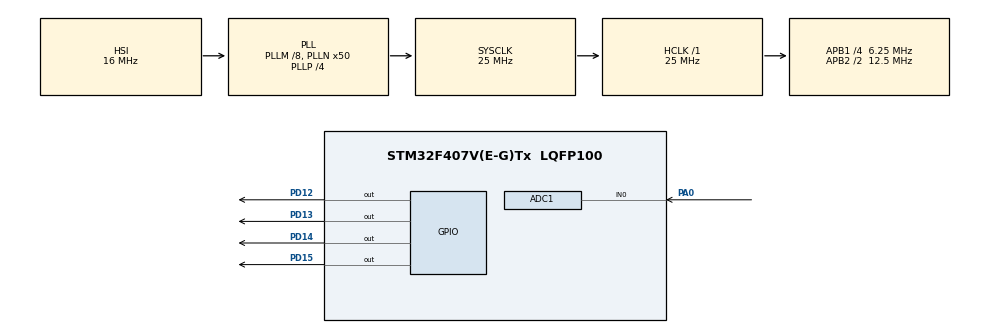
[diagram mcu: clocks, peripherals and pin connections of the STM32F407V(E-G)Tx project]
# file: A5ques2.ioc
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ADC1.Channel-0\#ChannelRegularConversion=ADC_CHANNEL_0
ADC1.ClockPrescaler=ADC_CLOCK_SYNC_PCLK_DIV6
ADC1.NbrOfConversionFlag=1
ADC1.Rank-0\#ChannelRegularConversion=1
ADC1.SamplingTime-0\#ChannelRegularConversion=ADC_SAMPLETIME_3CYCLES
ADC1.master=1
Mcu.Family=STM32F4
Mcu.Name=STM32F407V(E-G)Tx
Mcu.Package=LQFP100
NVIC.PriorityGroup=NVIC_PRIORITYGROUP_0
PA0-WKUP.Signal=ADCx_IN0
PD12.Signal=GPIO_Output
PD13.Signal=GPIO_Output
PD14.Signal=GPIO_Output
PD15.Signal=GPIO_Output
ProjectManager.HeapSize=0x200
ProjectManager.StackSize=0x400
ProjectManager.TargetToolchain=STM32CubeIDE
RCC.48MHZClocksFreq_Value=14285714.285714285
RCC.AHBFreq_Value=25000000
RCC.APB1CLKDivider=RCC_HCLK_DIV4
RCC.APB1Freq_Value=6250000
RCC.APB1TimFreq_Value=12500000
RCC.APB2CLKDivider=RCC_HCLK_DIV2
RCC.APB2Freq_Value=12500000
RCC.APB2TimFreq_Value=25000000
RCC.CortexFreq_Value=25000000
RCC.HCLKFreq_Value=25000000
RCC.HSE_VALUE=8000000
RCC.HSI_VALUE=16000000
RCC.LSE_VALUE=32768
RCC.PLLM=8
RCC.PLLN=50
RCC.PLLP=RCC_PLLP_DIV4
RCC.PLLQ=7
RCC.SYSCLKFreq_VALUE=25000000
RCC.SYSCLKSource=RCC_SYSCLKSOURCE_PLLCLK
RCC.VCOOutputFreq_Value=100000000
SH.ADCx_IN0.0=ADC1_IN0,IN0
board=STM32F407G-DISC1

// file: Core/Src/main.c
/* USER CODE BEGIN Header */
/**
  ******************************************************************************
  * @file           : main.c
  * @brief          : Main program body
  ******************************************************************************
  * @attention
  *
  * Copyright (c) 2026 STMicroelectronics.
  * All rights reserved.
  *
  * This software is licensed under terms that can be found in the LICENSE file
  * in the root directory of this software component.
  * If no LICENSE file comes with this software, it is provided AS-IS.
  *
  ******************************************************************************
  */
/* USER CODE END Header */
#include "main.h"

/* USER CODE BEGIN Includes */
#include<stdio.h>
#include<string.h>
/* USER CODE END Includes */

ADC_HandleTypeDef hadc1;

void SystemClock_Config(void);
static void MX_GPIO_Init(void);
static void MX_ADC1_Init(void);

int main(void)
{

  /* MCU Configuration--------------------------------------------------------*/

  /* Reset of all peripherals, Initializes the Flash interface and the Systick. */
  HAL_Init();

  /* Configure the system clock */
  SystemClock_Config();

  /* Initialize all configured peripherals */
  MX_GPIO_Init();
  MX_ADC1_Init();

  /* Infinite loop */
  /* USER CODE BEGIN WHILE */
  while (1)
  {

	  uint32_t result;
	  HAL_ADC_Start(&hadc1);
	  HAL_ADC_PollForConversion(&hadc1, HAL_MAX_DELAY);
	  result = HAL_ADC_GetValue(&hadc1);
	  HAL_ADC_Stop(&hadc1);
	  HAL_Delay(100);

	  if(result < 500)
	  {
		  HAL_GPIO_TogglePin(GPIOD, GPIO_PIN_12 |GPIO_PIN_13|GPIO_PIN_14|GPIO_PIN_15);
	  	  HAL_Delay(100);
	  }
	  else if(result < 1000)
	  {  HAL_GPIO_TogglePin(GPIOD, GPIO_PIN_12 |GPIO_PIN_13|GPIO_PIN_14|GPIO_PIN_15);
		  HAL_Delay(300);
	  }
	  else if(result <1500)
	  {  HAL_GPIO_TogglePin(GPIOD, GPIO_PIN_12 |GPIO_PIN_13|GPIO_PIN_14|GPIO_PIN_15);
		  HAL_Delay(700);
	  }
	  else if(result <2000)
	  {  HAL_GPIO_TogglePin(GPIOD, GPIO_PIN_12 |GPIO_PIN_13|GPIO_PIN_14|GPIO_PIN_15);
		  HAL_Delay(1000);
	  }
	  else if(result <3000)
	  {  HAL_GPIO_TogglePin(GPIOD, GPIO_PIN_12 |GPIO_PIN_13|GPIO_PIN_14|GPIO_PIN_15);
		  HAL_Delay(1300);
	  }
	  else (result <4000)
	  {  HAL_GPIO_TogglePin(GPIOD, GPIO_PIN_12 |GPIO_PIN_13|GPIO_PIN_14|GPIO_PIN_15);
		  HAL_Delay(1800);
	  }
	  /* USER CODE END WHILE */

  }
}

void SystemClock_Config(void)
{
  RCC_OscInitTypeDef RCC_OscInitStruct = {0};
  RCC_ClkInitTypeDef RCC_ClkInitStruct = {0};

  /** Configure the main internal regulator output voltage
  */
  __HAL_RCC_PWR_CLK_ENABLE();
  __HAL_PWR_VOLTAGESCALING_CONFIG(PWR_REGULATOR_VOLTAGE_SCALE1);

  /** Initializes the RCC Oscillators according to the specified parameters
  * in the RCC_OscInitTypeDef structure.
  */
  RCC_OscInitStruct.OscillatorType = RCC_OSCILLATORTYPE_HSI;
  RCC_OscInitStruct.HSIState = RCC_HSI_ON;
  RCC_OscInitStruct.HSICalibrationValue = RCC_HSICALIBRATION_DEFAULT;
  RCC_OscInitStruct.PLL.PLLState = RCC_PLL_ON;
  RCC_OscInitStruct.PLL.PLLSource = RCC_PLLSOURCE_HSI;
  RCC_OscInitStruct.PLL.PLLM = 8;
  RCC_OscInitStruct.PLL.PLLN = 50;
  RCC_OscInitStruct.PLL.PLLP = RCC_PLLP_DIV4;
  RCC_OscInitStruct.PLL.PLLQ = 7;
  if (HAL_RCC_OscConfig(&RCC_OscInitStruct) != HAL_OK)
  {
    Error_Handler();
  }

  /** Initializes the CPU, AHB and APB buses clocks
  */
  RCC_ClkInitStruct.ClockType = RCC_CLOCKTYPE_HCLK|RCC_CLOCKTYPE_SYSCLK
                              |RCC_CLOCKTYPE_PCLK1|RCC_CLOCKTYPE_PCLK2;
  RCC_ClkInitStruct.SYSCLKSource = RCC_SYSCLKSOURCE_PLLCLK;
  RCC_ClkInitStruct.AHBCLKDivider = RCC_SYSCLK_DIV1;
  RCC_ClkInitStruct.APB1CLKDivider = RCC_HCLK_DIV4;
  RCC_ClkInitStruct.APB2CLKDivider = RCC_HCLK_DIV2;

  if (HAL_RCC_ClockConfig(&RCC_ClkInitStruct, FLASH_LATENCY_0) != HAL_OK)
  {
    Error_Handler();
  }
}

static void MX_ADC1_Init(void)
{

  ADC_ChannelConfTypeDef sConfig = {0};

  /** Configure the global features of the ADC (Clock, Resolution, Data Alignment and number of conversion)
  */
  hadc1.Instance = ADC1;
  hadc1.Init.ClockPrescaler = ADC_CLOCK_SYNC_PCLK_DIV6;
  hadc1.Init.Resolution = ADC_RESOLUTION_12B;
  hadc1.Init.ScanConvMode = DISABLE;
  hadc1.Init.ContinuousConvMode = DISABLE;
  hadc1.Init.DiscontinuousConvMode = DISABLE;
  hadc1.Init.ExternalTrigConvEdge = ADC_EXTERNALTRIGCONVEDGE_NONE;
  hadc1.Init.ExternalTrigConv = ADC_SOFTWARE_START;
  hadc1.Init.DataAlign = ADC_DATAALIGN_RIGHT;
  hadc1.Init.NbrOfConversion = 1;
  hadc1.Init.DMAContinuousRequests = DISABLE;
  hadc1.Init.EOCSelection = ADC_EOC_SINGLE_CONV;
  if (HAL_ADC_Init(&hadc1) != HAL_OK)
  {
    Error_Handler();
  }

  /** Configure for the selected ADC regular channel its corresponding rank in the sequencer and its sample time.
  */
  sConfig.Channel = ADC_CHANNEL_0;
  sConfig.Rank = 1;
  sConfig.SamplingTime = ADC_SAMPLETIME_3CYCLES;
  if (HAL_ADC_ConfigChannel(&hadc1, &sConfig) != HAL_OK)
  {
    Error_Handler();
  }

}

static void MX_GPIO_Init(void)
{
  GPIO_InitTypeDef GPIO_InitStruct = {0};

  /* GPIO Ports Clock Enable */
  __HAL_RCC_GPIOA_CLK_ENABLE();
  __HAL_RCC_GPIOD_CLK_ENABLE();

  /*Configure GPIO pin Output Level */
  HAL_GPIO_WritePin(GPIOD, GPIO_PIN_12|GPIO_PIN_13|GPIO_PIN_14|GPIO_PIN_15, GPIO_PIN_RESET);

  /*Configure GPIO pins : PD12 PD13 PD14 PD15 */
  GPIO_InitStruct.Pin = GPIO_PIN_12|GPIO_PIN_13|GPIO_PIN_14|GPIO_PIN_15;
  GPIO_InitStruct.Mode = GPIO_MODE_OUTPUT_PP;
  GPIO_InitStruct.Pull = GPIO_NOPULL;
  GPIO_InitStruct.Speed = GPIO_SPEED_FREQ_LOW;
  HAL_GPIO_Init(GPIOD, &GPIO_InitStruct);

}

void Error_Handler(void)
{
  __disable_irq();
  while (1)
  {
  }
}
